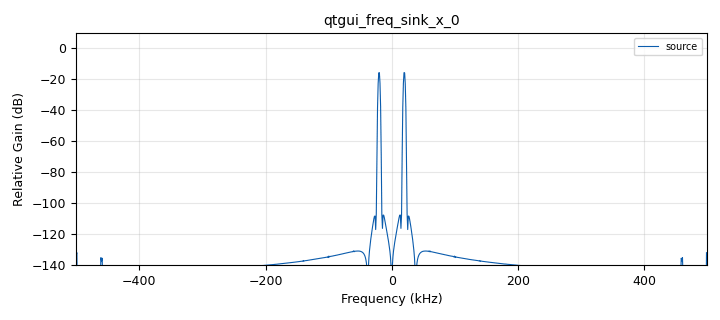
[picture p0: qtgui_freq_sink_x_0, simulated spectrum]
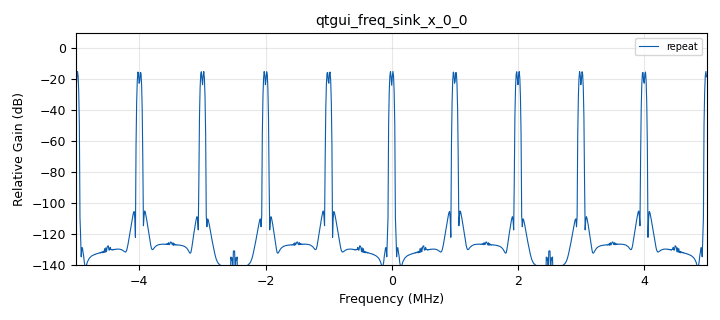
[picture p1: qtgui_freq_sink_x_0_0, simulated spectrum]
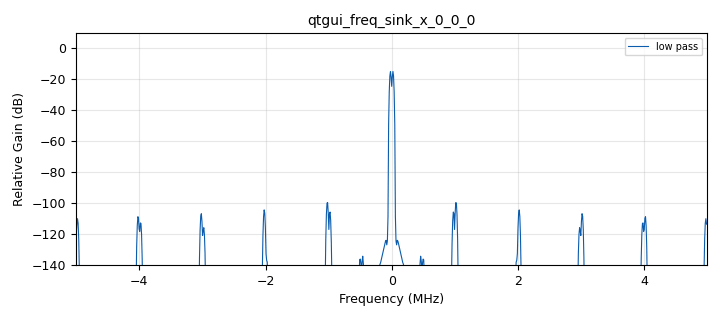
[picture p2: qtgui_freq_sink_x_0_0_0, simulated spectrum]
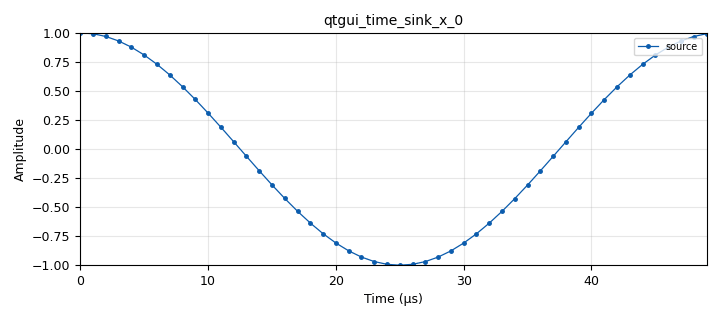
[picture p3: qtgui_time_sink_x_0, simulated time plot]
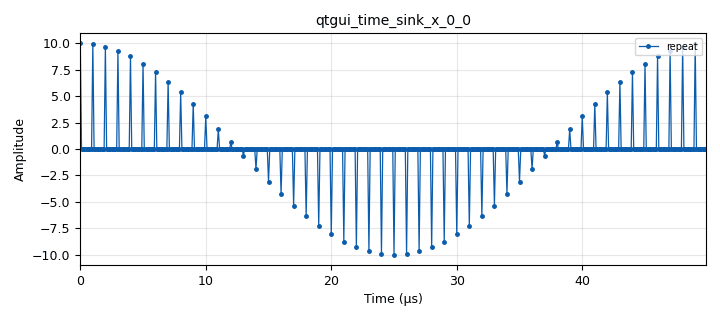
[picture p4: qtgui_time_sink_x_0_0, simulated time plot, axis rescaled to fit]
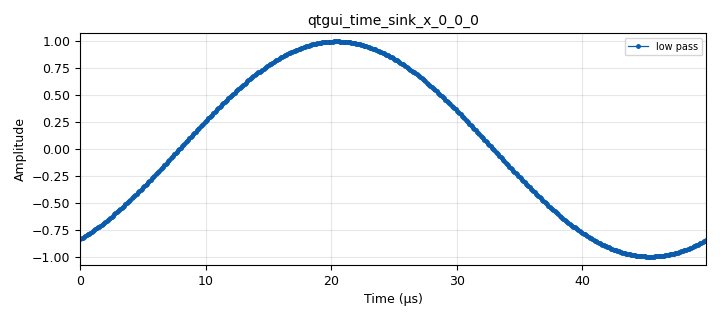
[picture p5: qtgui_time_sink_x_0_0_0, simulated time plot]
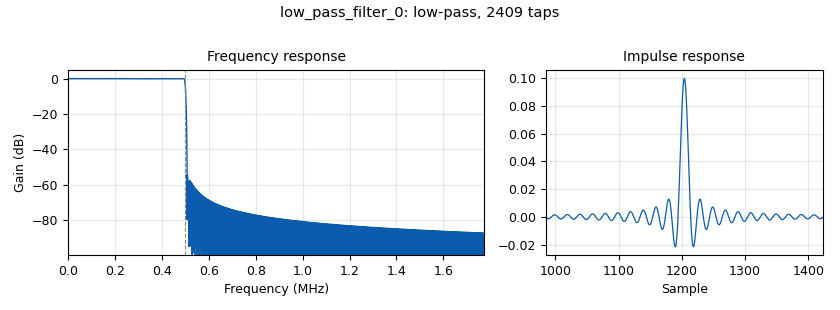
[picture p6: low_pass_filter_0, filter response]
options:
  parameters:
    author: jason
    generate_options: qt_gui
    generator_class_name: PythonQtGuiGenerator
    generator_module: gnuradio.grc.workflows.python_qt_gui
    id: lesson06a_RealSampling
    output_language: python
    title: lesson06a_RealSampling
  states: {}

blocks:
- name: freq_kHz
  id: variable_qtgui_range
  parameters:
    gui_hint: 0,0,1,2
    start: '0'
    step: '1'
    stop: '1500'
    value: '20'
  states: {}
- name: samp_rate
  id: variable
  parameters:
    value: 1e6
  states: {}
- name: upsample
  id: variable
  parameters:
    comment: |-
      resampling factor used to draw the
      "continuous" signal between the samples
    value: '10'
  states: {}
- name: analog_sig_source_x_0
  id: analog_sig_source_x
  parameters:
    amp: '1'
    freq: freq_kHz*1e3
    offset: '0'
    phase: '0'
    samp_rate: samp_rate
    type: float
    waveform: analog.GR_COS_WAVE
  states: {}
- name: blocks_repeat_0
  id: blocks_repeat
  parameters:
    interp: '10'
    type: float
  states: {state: disabled}
- name: blocks_throttle_0
  id: blocks_throttle2
  parameters:
    samples_per_second: samp_rate
    type: float
  states: {}
- name: interp_fir_filter_xxx_0
  id: interp_fir_filter_xxx
  parameters:
    interp: upsample
    taps: '[upsample]+[0]*(upsample-1)'
    type: fff
  states: {}
- name: low_pass_filter_0
  id: low_pass_filter
  parameters:
    cutoff_freq: 500e3
    decim: '1'
    gain: '1'
    samp_rate: samp_rate*upsample
    type: fir_filter_fff
    width: 10e3
    win: window.WIN_HAMMING
  states: {}
- name: qtgui_freq_sink_x_0
  id: qtgui_freq_sink_x
  parameters:
    bw: samp_rate
    fc: '0'
    fftsize: '1024'
    gui_hint: 1,1,3,1
    label1: source
    type: float
  states: {}
- name: qtgui_freq_sink_x_0_0
  id: qtgui_freq_sink_x
  parameters:
    bw: samp_rate*upsample
    fc: '0'
    fftsize: '1024'
    gui_hint: 4,1,3,1
    label1: repeat
    type: float
  states: {}
- name: qtgui_freq_sink_x_0_0_0
  id: qtgui_freq_sink_x
  parameters:
    bw: samp_rate*upsample
    fc: '0'
    fftsize: '1024'
    gui_hint: 7,1,3,1
    label1: low pass
    type: float
  states: {}
- name: qtgui_time_sink_x_0
  id: qtgui_time_sink_x
  parameters:
    gui_hint: 1,0,3,1
    label1: source
    marker1: '0'
    size: '50'
    srate: samp_rate
    type: float
  states: {}
- name: qtgui_time_sink_x_0_0
  id: qtgui_time_sink_x
  parameters:
    gui_hint: 4,0,3,1
    label1: repeat
    marker1: '0'
    size: '500'
    srate: samp_rate*upsample
    type: float
  states: {}
- name: qtgui_time_sink_x_0_0_0
  id: qtgui_time_sink_x
  parameters:
    gui_hint: 7,0,3,1
    label1: low pass
    marker1: '0'
    size: '500'
    srate: samp_rate*upsample
    type: float
  states: {}

connections:
- [analog_sig_source_x_0, '0', blocks_throttle_0, '0']
- [blocks_repeat_0, '0', low_pass_filter_0, '0']
- [blocks_repeat_0, '0', qtgui_freq_sink_x_0_0, '0']
- [blocks_repeat_0, '0', qtgui_time_sink_x_0_0, '0']
- [blocks_throttle_0, '0', blocks_repeat_0, '0']
- [blocks_throttle_0, '0', interp_fir_filter_xxx_0, '0']
- [blocks_throttle_0, '0', qtgui_freq_sink_x_0, '0']
- [blocks_throttle_0, '0', qtgui_time_sink_x_0, '0']
- [interp_fir_filter_xxx_0, '0', low_pass_filter_0, '0']
- [interp_fir_filter_xxx_0, '0', qtgui_freq_sink_x_0_0, '0']
- [interp_fir_filter_xxx_0, '0', qtgui_time_sink_x_0_0, '0']
- [low_pass_filter_0, '0', qtgui_freq_sink_x_0_0_0, '0']
- [low_pass_filter_0, '0', qtgui_time_sink_x_0_0_0, '0']

metadata:
  file_format: 1
  grc_version: 3.10.12.0
